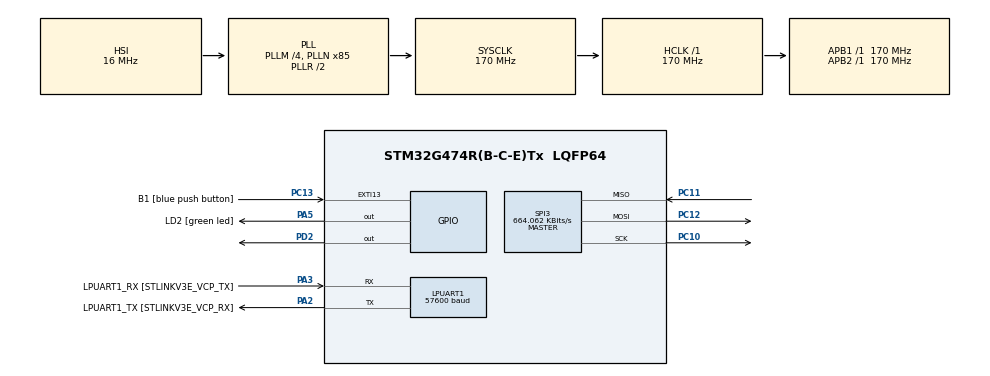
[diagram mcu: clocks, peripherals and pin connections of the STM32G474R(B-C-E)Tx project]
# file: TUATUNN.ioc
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LPUART1.BaudRate=57600
LPUART1.WordLength=UART_WORDLENGTH_8B
Mcu.Family=STM32G4
Mcu.Name=STM32G474R(B-C-E)Tx
Mcu.Package=LQFP64
NVIC.EXTI15_10_IRQn=true\:0\:0\:false\:false\:true\:true\:true\:true
NVIC.PriorityGroup=NVIC_PRIORITYGROUP_4
NVIC.SPI3_IRQn=true\:0\:0\:false\:false\:true\:true\:true\:true
NVIC.TIM2_IRQn=true\:0\:0\:false\:false\:true\:true\:true\:true
PA13.GPIO_Label=T_SWDIO
PA13.Mode=Serial_Wire
PA13.Signal=SYS_JTMS-SWDIO
PA14.GPIO_Label=T_SWCLK
PA14.Mode=Serial_Wire
PA14.Signal=SYS_JTCK-SWCLK
PA2.GPIO_Label=LPUART1_TX [STLINKV3E_VCP_RX]
PA2.Mode=Asynchronous
PA2.Signal=LPUART1_TX
PA3.GPIO_Label=LPUART1_RX [STLINKV3E_VCP_TX]
PA3.Mode=Asynchronous
PA3.Signal=LPUART1_RX
PA5.GPIO_Label=LD2 [green led]
PA5.Signal=GPIO_Output
PB3.GPIO_Label=T_SWO
PB3.Signal=SYS_JTDO-SWO
PC10.Mode=Full_Duplex_Master
PC10.Signal=SPI3_SCK
PC11.Mode=Full_Duplex_Master
PC11.Signal=SPI3_MISO
PC12.Mode=Full_Duplex_Master
PC12.Signal=SPI3_MOSI
PC13.GPIO_Label=B1 [blue push button]
PC13.Signal=GPXTI13
PC14-OSC32_IN.Mode=LSE-External-Oscillator
PC14-OSC32_IN.Signal=RCC_OSC32_IN
PC15-OSC32_OUT.Mode=LSE-External-Oscillator
PC15-OSC32_OUT.Signal=RCC_OSC32_OUT
PD2.PinState=GPIO_PIN_SET
PD2.Signal=GPIO_Output
PF0-OSC_IN.Mode=HSE-External-Oscillator
PF0-OSC_IN.Signal=RCC_OSC_IN
PF1-OSC_OUT.Mode=HSE-External-Oscillator
PF1-OSC_OUT.Signal=RCC_OSC_OUT
ProjectManager.HeapSize=0x200
ProjectManager.StackSize=0x400
ProjectManager.TargetToolchain=STM32CubeIDE
RCC.ADC12Freq_Value=170000000
RCC.ADC345Freq_Value=170000000
RCC.AHBFreq_Value=170000000
RCC.APB1Freq_Value=170000000
RCC.APB1TimFreq_Value=170000000
RCC.APB2Freq_Value=170000000
RCC.APB2TimFreq_Value=170000000
RCC.CortexFreq_Value=170000000
RCC.EXTERNAL_CLOCK_VALUE=12288000
RCC.HCLKFreq_Value=170000000
RCC.HSE_VALUE=24000000
RCC.HSI48_VALUE=48000000
RCC.HSI_VALUE=16000000
RCC.PLLM=RCC_PLLM_DIV4
RCC.PLLN=85
RCC.RTCClockSelection=RCC_RTCCLKSOURCE_LSE
RCC.SYSCLKFreq_VALUE=170000000
RCC.SYSCLKSource=RCC_SYSCLKSOURCE_PLLCLK
RCC.USBFreq_Value=170000000
RCC.VCOOutputFreq_Value=340000000
SPI3.BaudRatePrescaler=SPI_BAUDRATEPRESCALER_256
SPI3.CLKPhase=SPI_PHASE_1EDGE
SPI3.CLKPolarity=SPI_POLARITY_LOW
SPI3.CalculateBaudRate=664.062 KBits/s
SPI3.DataSize=SPI_DATASIZE_8BIT
SPI3.Direction=SPI_DIRECTION_2LINES
SPI3.Mode=SPI_MODE_MASTER
SPI3.VirtualType=VM_MASTER
TIM2.PeriodNoDither=999
TIM2.Prescaler=16999
VP_SYS_VS_DBSignals.Mode=DisableDeadBatterySignals
VP_TIM2_VS_ClockSourceINT.Mode=Internal
board=NUCLEO-G474RE

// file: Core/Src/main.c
/* USER CODE BEGIN Header */
/**
  ******************************************************************************
  * @file           : main.c
  * @brief          : Main program body
  ******************************************************************************
  * @attention
  *
  * Copyright (c) 2024 STMicroelectronics.
  * All rights reserved.
  *
  * This software is licensed under terms that can be found in the LICENSE file
  * in the root directory of this software component.
  * If no LICENSE file comes with this software, it is provided AS-IS.
  *
  ******************************************************************************
  */
/* USER CODE END Header */
#include "main.h"

/* USER CODE BEGIN Includes */
#include "stdio.h"
#include "stdlib.h"
#include "string.h"
/* USER CODE END Includes */

UART_HandleTypeDef hlpuart1;

SPI_HandleTypeDef hspi3;

TIM_HandleTypeDef htim2;

/* USER CODE BEGIN PV */
uint8_t SPIRx[10];
uint8_t SPITx[10];
uint8_t Mode = 0;
uint8_t Switch = 1;
uint8_t randomtime = 1;
uint8_t n = 0;
uint16_t tick = 0;
uint8_t point = 0;

uint8_t RxBuffer[20];
uint8_t TxBuffer[40];
uint8_t text[]= "12345\r\n";
uint8_t debug = 0;
/* USER CODE END PV */

void SystemClock_Config(void);
static void MX_GPIO_Init(void);
static void MX_LPUART1_UART_Init(void);
static void MX_SPI3_Init(void);
static void MX_TIM2_Init(void);
/* USER CODE BEGIN PFP */
//void SPITxRx_Setup();
void Tuatunn(); //operation spi
void SPI_Setup(); //set pin LED output
void ReadSwitch();

void UART_Transmit();
/* USER CODE END PFP */

int main(void)
{

  /* MCU Configuration--------------------------------------------------------*/

  /* Reset of all peripherals, Initializes the Flash interface and the Systick. */
  HAL_Init();

  /* Configure the system clock */
  SystemClock_Config();

  /* Initialize all configured peripherals */
  MX_GPIO_Init();
  MX_LPUART1_UART_Init();
  MX_SPI3_Init();
  MX_TIM2_Init();
  /* USER CODE BEGIN 2 */
  //  SPITxRx_Setup();//for mode 1,1
  SPI_Setup();
  HAL_TIM_Base_Start_IT(&htim2);
  /* USER CODE END 2 */

  /* Infinite loop */
  /* USER CODE BEGIN WHILE */
  while (1)
  {
	UART_Transmit();
    /* USER CODE END WHILE */

    /* USER CODE BEGIN 3 */
	HAL_Delay(1);
	Tuatunn();
	ReadSwitch();
	if(Switch == n && n != 0)
	{
		point++;
		n = 0;
		Mode = 1; //write
		sprintf((char*)TxBuffer,"BANG!!!!\r\n");
		HAL_UART_Transmit(&hlpuart1, TxBuffer, strlen((char*)TxBuffer), 10);

		HAL_GPIO_WritePin(GPIOD, GPIO_PIN_2, 1);
		Tuatunn(); // light update : off
	}
	else if(Mode == 0) //read
	{
		debug = Switch;
		Switch = 0;
	}

  }
  /* USER CODE END 3 */
}

void SystemClock_Config(void)
{
  RCC_OscInitTypeDef RCC_OscInitStruct = {0};
  RCC_ClkInitTypeDef RCC_ClkInitStruct = {0};

  /** Configure the main internal regulator output voltage
  */
  HAL_PWREx_ControlVoltageScaling(PWR_REGULATOR_VOLTAGE_SCALE1_BOOST);

  /** Initializes the RCC Oscillators according to the specified parameters
  * in the RCC_OscInitTypeDef structure.
  */
  RCC_OscInitStruct.OscillatorType = RCC_OSCILLATORTYPE_HSI;
  RCC_OscInitStruct.HSIState = RCC_HSI_ON;
  RCC_OscInitStruct.HSICalibrationValue = RCC_HSICALIBRATION_DEFAULT;
  RCC_OscInitStruct.PLL.PLLState = RCC_PLL_ON;
  RCC_OscInitStruct.PLL.PLLSource = RCC_PLLSOURCE_HSI;
  RCC_OscInitStruct.PLL.PLLM = RCC_PLLM_DIV4;
  RCC_OscInitStruct.PLL.PLLN = 85;
  RCC_OscInitStruct.PLL.PLLP = RCC_PLLP_DIV2;
  RCC_OscInitStruct.PLL.PLLQ = RCC_PLLQ_DIV2;
  RCC_OscInitStruct.PLL.PLLR = RCC_PLLR_DIV2;
  if (HAL_RCC_OscConfig(&RCC_OscInitStruct) != HAL_OK)
  {
    Error_Handler();
  }

  /** Initializes the CPU, AHB and APB buses clocks
  */
  RCC_ClkInitStruct.ClockType = RCC_CLOCKTYPE_HCLK|RCC_CLOCKTYPE_SYSCLK
                              |RCC_CLOCKTYPE_PCLK1|RCC_CLOCKTYPE_PCLK2;
  RCC_ClkInitStruct.SYSCLKSource = RCC_SYSCLKSOURCE_PLLCLK;
  RCC_ClkInitStruct.AHBCLKDivider = RCC_SYSCLK_DIV1;
  RCC_ClkInitStruct.APB1CLKDivider = RCC_HCLK_DIV1;
  RCC_ClkInitStruct.APB2CLKDivider = RCC_HCLK_DIV1;

  if (HAL_RCC_ClockConfig(&RCC_ClkInitStruct, FLASH_LATENCY_4) != HAL_OK)
  {
    Error_Handler();
  }
}

static void MX_LPUART1_UART_Init(void)
{

  hlpuart1.Instance = LPUART1;
  hlpuart1.Init.BaudRate = 57600;
  hlpuart1.Init.WordLength = UART_WORDLENGTH_8B;
  hlpuart1.Init.StopBits = UART_STOPBITS_1;
  hlpuart1.Init.Parity = UART_PARITY_NONE;
  hlpuart1.Init.Mode = UART_MODE_TX_RX;
  hlpuart1.Init.HwFlowCtl = UART_HWCONTROL_NONE;
  hlpuart1.Init.OneBitSampling = UART_ONE_BIT_SAMPLE_DISABLE;
  hlpuart1.Init.ClockPrescaler = UART_PRESCALER_DIV1;
  hlpuart1.AdvancedInit.AdvFeatureInit = UART_ADVFEATURE_NO_INIT;
  if (HAL_UART_Init(&hlpuart1) != HAL_OK)
  {
    Error_Handler();
  }
  if (HAL_UARTEx_SetTxFifoThreshold(&hlpuart1, UART_TXFIFO_THRESHOLD_1_8) != HAL_OK)
  {
    Error_Handler();
  }
  if (HAL_UARTEx_SetRxFifoThreshold(&hlpuart1, UART_RXFIFO_THRESHOLD_1_8) != HAL_OK)
  {
    Error_Handler();
  }
  if (HAL_UARTEx_DisableFifoMode(&hlpuart1) != HAL_OK)
  {
    Error_Handler();
  }

}

static void MX_SPI3_Init(void)
{

  /* SPI3 parameter configuration*/
  hspi3.Instance = SPI3;
  hspi3.Init.Mode = SPI_MODE_MASTER;
  hspi3.Init.Direction = SPI_DIRECTION_2LINES;
  hspi3.Init.DataSize = SPI_DATASIZE_8BIT;
  hspi3.Init.CLKPolarity = SPI_POLARITY_LOW;
  hspi3.Init.CLKPhase = SPI_PHASE_1EDGE;
  hspi3.Init.NSS = SPI_NSS_SOFT;
  hspi3.Init.BaudRatePrescaler = SPI_BAUDRATEPRESCALER_256;
  hspi3.Init.FirstBit = SPI_FIRSTBIT_MSB;
  hspi3.Init.TIMode = SPI_TIMODE_DISABLE;
  hspi3.Init.CRCCalculation = SPI_CRCCALCULATION_DISABLE;
  hspi3.Init.CRCPolynomial = 7;
  hspi3.Init.CRCLength = SPI_CRC_LENGTH_DATASIZE;
  hspi3.Init.NSSPMode = SPI_NSS_PULSE_ENABLE;
  if (HAL_SPI_Init(&hspi3) != HAL_OK)
  {
    Error_Handler();
  }

}

static void MX_TIM2_Init(void)
{

  TIM_ClockConfigTypeDef sClockSourceConfig = {0};
  TIM_MasterConfigTypeDef sMasterConfig = {0};

  htim2.Instance = TIM2;
  htim2.Init.Prescaler = 16999;
  htim2.Init.CounterMode = TIM_COUNTERMODE_UP;
  htim2.Init.Period = 999;
  htim2.Init.ClockDivision = TIM_CLOCKDIVISION_DIV1;
  htim2.Init.AutoReloadPreload = TIM_AUTORELOAD_PRELOAD_DISABLE;
  if (HAL_TIM_Base_Init(&htim2) != HAL_OK)
  {
    Error_Handler();
  }
  sClockSourceConfig.ClockSource = TIM_CLOCKSOURCE_INTERNAL;
  if (HAL_TIM_ConfigClockSource(&htim2, &sClockSourceConfig) != HAL_OK)
  {
    Error_Handler();
  }
  sMasterConfig.MasterOutputTrigger = TIM_TRGO_RESET;
  sMasterConfig.MasterSlaveMode = TIM_MASTERSLAVEMODE_DISABLE;
  if (HAL_TIMEx_MasterConfigSynchronization(&htim2, &sMasterConfig) != HAL_OK)
  {
    Error_Handler();
  }

}

static void MX_GPIO_Init(void)
{
  GPIO_InitTypeDef GPIO_InitStruct = {0};

  /* GPIO Ports Clock Enable */
  __HAL_RCC_GPIOC_CLK_ENABLE();
  __HAL_RCC_GPIOF_CLK_ENABLE();
  __HAL_RCC_GPIOA_CLK_ENABLE();
  __HAL_RCC_GPIOD_CLK_ENABLE();
  __HAL_RCC_GPIOB_CLK_ENABLE();

  /*Configure GPIO pin Output Level */
  HAL_GPIO_WritePin(LD2_GPIO_Port, LD2_Pin, GPIO_PIN_RESET);

  /*Configure GPIO pin Output Level */
  HAL_GPIO_WritePin(GPIOD, GPIO_PIN_2, GPIO_PIN_SET);

  /*Configure GPIO pin : B1_Pin */
  GPIO_InitStruct.Pin = B1_Pin;
  GPIO_InitStruct.Mode = GPIO_MODE_IT_RISING;
  GPIO_InitStruct.Pull = GPIO_NOPULL;
  HAL_GPIO_Init(B1_GPIO_Port, &GPIO_InitStruct);

  /*Configure GPIO pin : LD2_Pin */
  GPIO_InitStruct.Pin = LD2_Pin;
  GPIO_InitStruct.Mode = GPIO_MODE_OUTPUT_PP;
  GPIO_InitStruct.Pull = GPIO_NOPULL;
  GPIO_InitStruct.Speed = GPIO_SPEED_FREQ_LOW;
  HAL_GPIO_Init(LD2_GPIO_Port, &GPIO_InitStruct);

  /*Configure GPIO pin : PD2 */
  GPIO_InitStruct.Pin = GPIO_PIN_2;
  GPIO_InitStruct.Mode = GPIO_MODE_OUTPUT_PP;
  GPIO_InitStruct.Pull = GPIO_NOPULL;
  GPIO_InitStruct.Speed = GPIO_SPEED_FREQ_LOW;
  HAL_GPIO_Init(GPIOD, &GPIO_InitStruct);

  /* EXTI interrupt init*/
  HAL_NVIC_SetPriority(EXTI15_10_IRQn, 0, 0);
  HAL_NVIC_EnableIRQ(EXTI15_10_IRQn);

}

/* USER CODE BEGIN 4 */
void SPI_Setup()//at BEGIN 2
{
	HAL_GPIO_WritePin(GPIOD, GPIO_PIN_2, 0);
	SPITx[0] = 0b01000000;//write
	SPITx[1] = 0x01;//spi
	SPITx[2] = 0b00000000;
	HAL_SPI_TransmitReceive_IT(&hspi3, SPITx, SPIRx, 3);
}

void Tuatunn()
{
	if(HAL_GPIO_ReadPin(GPIOD,GPIO_PIN_2))
	{
		HAL_GPIO_WritePin(GPIOD, GPIO_PIN_2, 0); // CS Select
		if (Mode == 0)//button
		{
			SPITx[0] = 0b01000001;//read
			SPITx[1] = 0x12;
			SPITx[2] = 0;
			Mode = 1;
		}
		else if(Mode == 1)//LED
			{
			SPITx[0] = 0b01000000;//write
			SPITx[1] = 0x15;//OLATB
			//LED_From();
			if(n == 0 || (n >= 5 && n < 9))
			{
				SPITx[2] = 0xFF; //4 latter bit , 0 on 1 off
			}
			else if(n == 1)
			{
				SPITx[2] = 0b11111110;
			}
			else if(n == 2)
			{
				SPITx[2] = 0b11111101;
			}
			else if(n == 3)
			{
				SPITx[2] = 0b11111011;
			}
			else if(n == 4)
			{
				SPITx[2] = 0b11110111;
			}
			else if(n >= 9){
				SPITx[2] = 0b11111111;
			}
			Mode = 0;
		}
		HAL_SPI_TransmitReceive_IT(&hspi3, SPITx, SPIRx, 3);

	}
}
void ReadSwitch()
{
	if (SPIRx[2]==14)
	{
		Switch = 1;
	}
	else if (SPIRx[2]==13)
	{
		Switch = 2;
	}
	else if (SPIRx[2]==11)
	{
		Switch = 4;
	}
	else if (SPIRx[2]==7)
	{
		Switch = 3;
	}
}
void HAL_SPI_TxRxCpltCallback(SPI_HandleTypeDef *hspi)
{
	HAL_GPIO_WritePin(GPIOD, GPIO_PIN_2, 1); //CS dnSelect
}
void HAL_TIM_PeriodElapsedCallback(TIM_HandleTypeDef *htim)
{
		if (htim == &htim2)
		{
			if(tick <600)
			{
				randomtime+=1;
				if (randomtime>16)
				{
					randomtime = 1;
				}
				if (randomtime%8 == 0) //0.8
				{
					n = rand() % 10;
				}
				tick++;
			}
			else
			{
				n = 0;
				//send UART
			}
		}
}

void UART_Transmit()
{
	//return received char
	if(tick == 600 ){
		tick++;
		sprintf((char*)TxBuffer,"Got : %d\r\n", (int)point);
		HAL_UART_Transmit(&hlpuart1, TxBuffer, strlen((char*)TxBuffer), 10);
	}
}
/* USER CODE END 4 */

void Error_Handler(void)
{
  __disable_irq();
  while (1)
  {
  }
}
